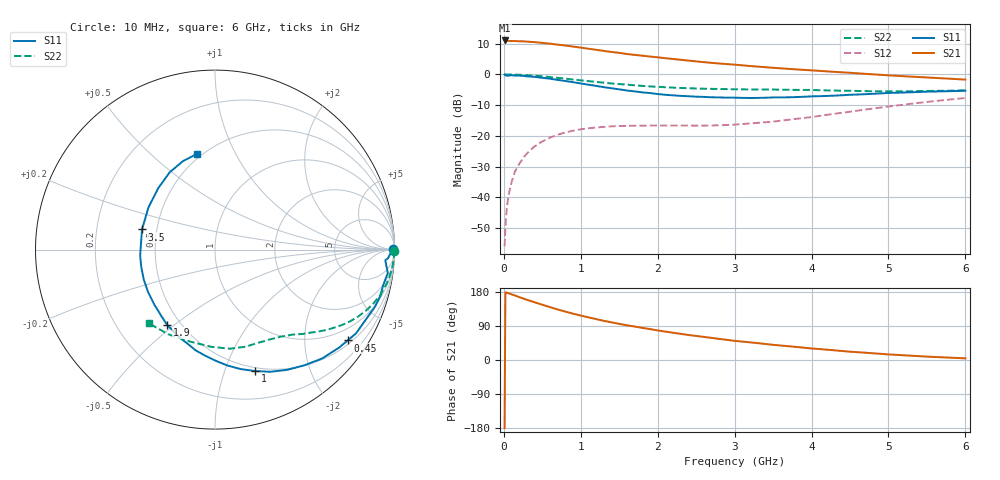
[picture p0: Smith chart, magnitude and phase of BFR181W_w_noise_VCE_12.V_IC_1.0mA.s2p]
! Infineon Technologies  Discrete & RF Semiconductors
! BFR181W
! VCE =  12. V,  IC =  1.0 mA
! Common Emitter S-Parameters:  Jan 2017
# GHz  S  MA  R  50
!  f  S11  S21  S12  S22
! GHz  MAG  ANG  MAG  ANG  MAG  ANG  MAG  ANG
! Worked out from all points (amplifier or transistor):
!   77 points, 10 MHz to 6 GHz, reference 50 ohm
!   highest |S21| = 11.1 dB at 10 MHz (marker M1)
!   |S21| within 3 dB of that: start of sweep to 1.188 GHz
!   unconditionally stable (mu >= 1): 2.329 GHz to 4.426 GHz
!   at 130 MHz: K = 0.05, MSG = 21.8 dB, |S12| = -32.7 dB
!   at 2.2 GHz: K = 0.95, MSG = 10.8 dB, |S12| = -16.6 dB
!   at 6 GHz: K = 0.85, MSG = 3.0 dB, |S12| = -7.7 dB
!   lowest NFmin = 0.87 dB at 450 MHz
!   S11 on the Smith chart (normalised r, x): 10 MHz: open; 450 MHz: 0.61, -3.12; 1 GHz: 0.46, -1.28; 1.9 GHz: 0.42, -0.47; 3.5 GHz: 0.41, +0.11; 6 GHz: 0.47, +0.71
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0.01  0.9899 0.2  3.571 -179.7  0.0016 84.5  1 -0.4
0.02  0.9658 -2.8  3.537 178.7  0.0032 89.7  1 -0.6
0.04  0.9557 -3.3  3.522 177.4  0.0068 85.7  1 -1.5
0.07  0.9585 -5.3  3.507 175.4  0.0121 84.9  0.9971 -2.7
0.12  0.9653 -9.4  3.494 171.9  0.0213 83.3  0.994 -4.8
0.25  0.9467 -19.6  3.459 162.4  0.0438 76.8  0.9809 -9.9
0.45  0.8957 -34.4  3.303 149.1  0.0741 67.2  0.9423 -17.2
0.6  0.8514 -45.4  3.165 139.5  0.0938 60.9  0.906 -22.2
0.7  0.8142 -52.4  3.051 133.3  0.1042 57.3  0.8798 -25.1
0.8  0.7809 -59.1  2.953 127.7  0.114 53.7  0.8527 -27.9
1  0.7127 -71.7  2.731 117.3  0.1278 47.4  0.801 -32.6
1.1  0.6807 -77.9  2.62 112.5  0.1326 45.0  0.7783 -34.6
1.3  0.62 -89.5  2.415 103.3  0.1399 40.3  0.7334 -38.5
1.5  0.5719 -100.8  2.243 95.4  0.1448 37.4  0.6961 -41.9
1.9  0.4975 -122.4  1.956 81.6  0.147 34.6  0.6374 -48.1
2.1  0.466 -132.6  1.837 75.0  0.1472 34.5  0.6186 -51.1
2.4  0.4414 -147.8  1.679 66.0  0.147 35.4  0.596 -55.9
3.1  0.415 -179.5  1.406 48.6  0.1557 44.0  0.5708 -66.3
3.5  0.4219 164.6  1.282 40.0  0.1702 50.0  0.567 -72.6
4.1  0.442 144.5  1.142 28.9  0.2109 55.1  0.5534 -83.6
5.1  0.5031 118.1  0.95 13.6  0.3109 54.1  0.5301 -108.0
6  0.5427 100.7  0.824 4.3  0.4137 46.3  0.5514 -131.7
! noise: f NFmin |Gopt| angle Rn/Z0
0.45  0.87  0.69  18  0.51
0.9  0.95  0.64  36  0.47
1.9  1.56  0.44  83  0.32
2.4  1.81  0.38  99  0.34
